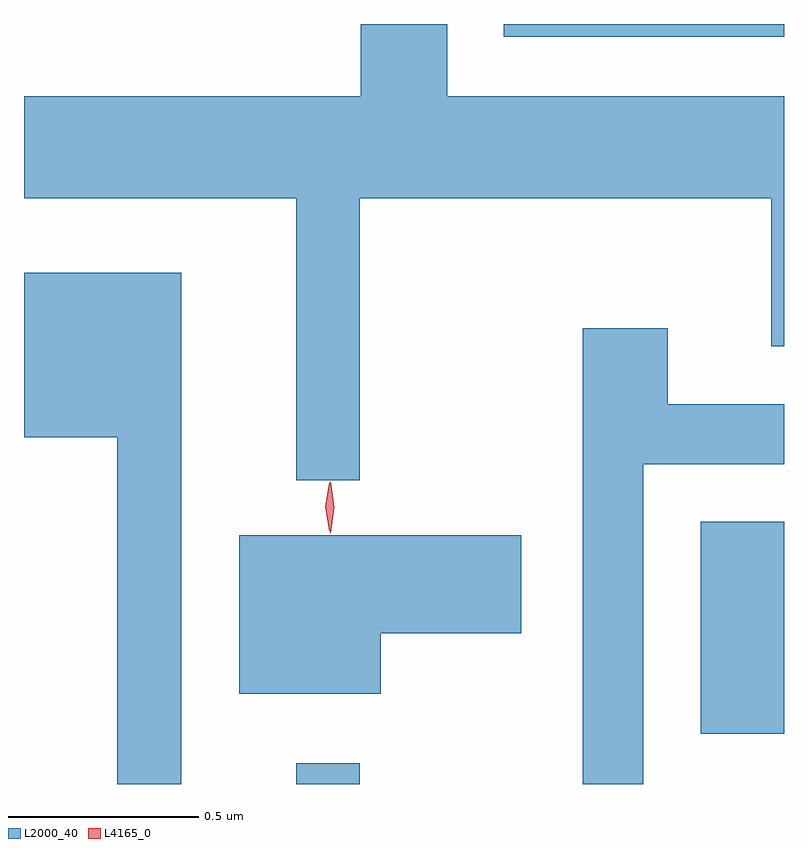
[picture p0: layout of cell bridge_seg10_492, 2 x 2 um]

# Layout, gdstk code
import gdstk
lib = gdstk.Library(unit=1e-6, precision=1e-09)
def R(c, l, rs):  # rectangles x0, y0, x1, y1
    for r in rs: c.add(gdstk.rectangle(r[:2], r[2:], *l))
def P(c, l, *ps):  # polygons
    for p in ps: c.add(gdstk.Polygon(p, *l))
L2000_40 = (2000, 40)
L4165_0 = (4165, 0)

bridge_seg10_492 = lib.new_cell('bridge_seg10_492')
R(bridge_seg10_492, L2000_40, [(1057.021,2161.214,1057.189,2161.268), (1058.086,2161.346,1058.305,2161.904), (1057.568,2163.181,1058.305,2163.214)])
P(bridge_seg10_492, L2000_40, [(1057.189,2162.756),(1058.271,2162.756),(1058.271,2162.366),(1058.305,2162.366),(1058.305,2163.024),(1057.419,2163.024),(1057.419,2163.214),(1057.191,2163.214),(1057.191,2163.024),(1056.305,2163.024),(1056.305,2162.756),(1057.021,2162.756),(1057.021,2162.013),(1057.189,2162.013)],
  [(1056.719,2162.559),(1056.306,2162.559),(1056.306,2162.384),(1056.305,2162.384),(1056.305,2162.126),(1056.551,2162.126),(1056.551,2161.214),(1056.719,2161.214)],
  [(1057.934,2162.056),(1058.305,2162.056),(1058.305,2162.214),(1057.999,2162.214),(1057.999,2162.414),(1057.776,2162.414),(1057.776,2161.214),(1057.934,2161.214)],
  [(1057.244,2161.611),(1057.614,2161.611),(1057.614,2161.869),(1056.871,2161.869),(1056.871,2161.451),(1057.244,2161.451)])
P(bridge_seg10_492, L4165_0, [(1057.111,2161.874),(1057.102,2161.942),(1057.111,2162.01),(1057.111,2162.01),(1057.112,2162.01),(1057.121,2161.942),(1057.112,2161.874),(1057.112,2161.874)],
  [(1057.108,2161.88),(1057.108,2161.88),(1057.098,2161.943),(1057.108,2162.006),(1057.108,2162.007),(1057.109,2162.006),(1057.118,2161.943),(1057.109,2161.88)])

lib.write_gds('bridge_seg10_492.gds')
